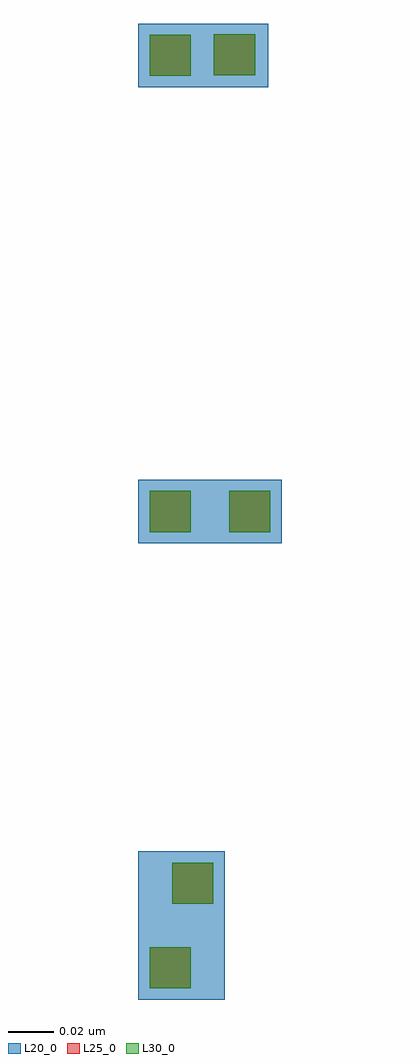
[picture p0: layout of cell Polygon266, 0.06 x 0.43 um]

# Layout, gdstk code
import gdstk
lib = gdstk.Library(unit=1e-6, precision=2.5e-10)
def R(c, l, rs):  # rectangles x0, y0, x1, y1
    for r in rs: c.add(gdstk.rectangle(r[:2], r[2:], *l))
def A(c, l, x, y, w, h, nx, ny, dx, dy):  # array of equal rectangles
    R(c, l, [(x+i*dx, y+j*dy, x+i*dx+w, y+j*dy+h) for i in range(nx) for j in range(ny)])
L20_0 = (20, 0)
L25_0 = (25, 0)
L30_0 = (30, 0)

polygon266 = lib.new_cell('Polygon266')
R(polygon266, L20_0, [(-0.005,-0.005,0.033,0.06), (-0.005,0.195,0.058,0.223), (-0.005,0.395,0.052,0.423)])
A(polygon266, L25_0, 0, 0, 0.018, 0.018, 1, 3, 0, 0.2)
R(polygon266, L25_0, [(0.01,0.037,0.028,0.055), (0.035,0.2,0.053,0.218), (0.0283,0.4002,0.0462,0.4183)])
A(polygon266, L30_0, 0, 0, 0.018, 0.018, 1, 3, 0, 0.2)
R(polygon266, L30_0, [(0.01,0.037,0.028,0.055), (0.035,0.2,0.053,0.218), (0.0283,0.4002,0.0462,0.4183)])

lib.write_gds('Polygon266.gds')
